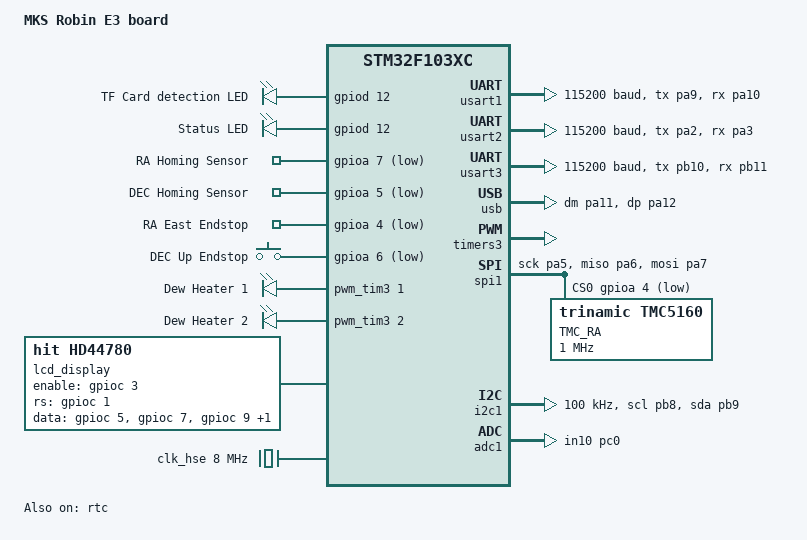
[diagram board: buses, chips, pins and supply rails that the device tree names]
/*
 * Copyright (c) 2021 Nordic Semiconductor ASA
 * SPDX-License-Identifier: Apache-2.0
 */

 /dts-v1/;
 #include <st/f1/stm32f103Xc.dtsi>
 #include <st/f1/stm32f103rctx-pinctrl.dtsi>

/ {
	model = "MKS Robin E3 board";
	compatible = "mks,robin_e3";

	chosen {
		zephyr,console = &usart3;
		zephyr,shell-uart = &usart3;
		zephyr,sram = &sram0;
		zephyr,flash = &flash0;
	};

	leds {
		compatible = "gpio-leds";
		tf_led: led_0 {
			gpios = <&gpiod 12 GPIO_ACTIVE_HIGH>;
			label = "TF Card detection LED";
		};
		status_led: status_led {
			gpios = <&gpiod 12 GPIO_ACTIVE_HIGH>;
			label = "Status LED";
		};
	};

	/* Stepper Motor GPIO Definitions */
	steppers {
		compatible = "gpio-steppers";
		
		/* RA (Right Ascension) Stepper - X Axis */
		ra_step: ra_step {
			gpios = <&gpioe 5 GPIO_ACTIVE_HIGH>;
			label = "RA Stepper Step";
		};
		ra_dir: ra_dir {
			gpios = <&gpioe 6 GPIO_ACTIVE_HIGH>;
			label = "RA Stepper Direction";
		};
		ra_en: ra_en {
			gpios = <&gpioe 4 GPIO_ACTIVE_LOW>;
			label = "RA Stepper Enable";
		};
		ra_diag: ra_diag {
			gpios = <&gpioe 7 GPIO_ACTIVE_HIGH>;
			label = "RA Stepper Diag";
		};

		/* DEC (Declination) Stepper - Y Axis */
		dec_step: dec_step {
			gpios = <&gpioe 2 GPIO_ACTIVE_HIGH>;
			label = "DEC Stepper Step";
		};
		dec_dir: dec_dir {
			gpios = <&gpioe 3 GPIO_ACTIVE_HIGH>;
			label = "DEC Stepper Direction";
		};
		dec_en: dec_en {
			gpios = <&gpioe 1 GPIO_ACTIVE_LOW>;
			label = "DEC Stepper Enable";
		};
		dec_diag: dec_diag {
			gpios = <&gpioe 0 GPIO_ACTIVE_HIGH>;
			label = "DEC Stepper Diag";
		};

		/* ALT (Altitude) Stepper - Z Axis */
		alt_step: alt_step {
			gpios = <&gpiob 5 GPIO_ACTIVE_HIGH>;
			label = "ALT Stepper Step";
		};
		alt_dir: alt_dir {
			gpios = <&gpiob 6 GPIO_ACTIVE_HIGH>;
			label = "ALT Stepper Direction";
		};
		alt_en: alt_en {
			gpios = <&gpiob 4 GPIO_ACTIVE_LOW>;
			label = "ALT Stepper Enable";
		};
		alt_diag: alt_diag {
			gpios = <&gpiob 7 GPIO_ACTIVE_HIGH>;
			label = "ALT Stepper Diag";
		};

		/* AZ (Azimuth) Stepper - E0 */
		az_step: az_step {
			gpios = <&gpiod 6 GPIO_ACTIVE_HIGH>;
			label = "AZ Stepper Step";
		};
		az_dir: az_dir {
			gpios = <&gpiod 3 GPIO_ACTIVE_HIGH>;
			label = "AZ Stepper Direction";
		};
		az_en: az_en {
			gpios = <&gpiob 3 GPIO_ACTIVE_LOW>;
			label = "AZ Stepper Enable";
		};
		az_diag: az_diag {
			gpios = <&gpioa 15 GPIO_ACTIVE_HIGH>;
			label = "AZ Stepper Diag";
		};

		/* Focus Stepper - E1 */
		focus_step: focus_step {
			gpios = <&gpioa 6 GPIO_ACTIVE_HIGH>;
			label = "Focus Stepper Step";
		};
		focus_dir: focus_dir {
			gpios = <&gpioa 1 GPIO_ACTIVE_HIGH>;
			label = "Focus Stepper Direction";
		};
		focus_en: focus_en {
			gpios = <&gpioa 3 GPIO_ACTIVE_LOW>;
			label = "Focus Stepper Enable";
		};
		focus_diag: focus_diag {
			gpios = <&gpioa 2 GPIO_ACTIVE_HIGH>;
			label = "Focus Stepper Diag";
		};
	};

	/* Endstops and Sensors */
	sensors {
		compatible = "gpio-keys";
		
		ra_homing: ra_homing {
			gpios = <&gpioa 7 (GPIO_PULL_UP | GPIO_ACTIVE_LOW)>;
			label = "RA Homing Sensor";
		};
		dec_homing: dec_homing {
			gpios = <&gpioa 5 (GPIO_PULL_UP | GPIO_ACTIVE_LOW)>;
			label = "DEC Homing Sensor";
		};
		ra_endstop_east: ra_endstop_east {
			gpios = <&gpioa 4 (GPIO_PULL_UP | GPIO_ACTIVE_LOW)>;
			label = "RA East Endstop";
		};
		dec_endstop_up: dec_endstop_up {
			gpios = <&gpioa 6 (GPIO_PULL_UP | GPIO_ACTIVE_LOW)>;
			label = "DEC Up Endstop";
		};
	};

	/* Heater/PWM Outputs */
	heaters {
		compatible = "pwm-leds";
		dew_heater1: dew_heater1 {
			pwms = <&pwm_tim3 1 PWM_MSEC(20) PWM_POLARITY_NORMAL>;
			label = "Dew Heater 1";
		};
		dew_heater2: dew_heater2 {
			pwms = <&pwm_tim3 2 PWM_MSEC(20) PWM_POLARITY_NORMAL>;
			label = "Dew Heater 2";
		};
	};

	/* LCD Display */
	lcd_display {
		compatible = "hit,hd44780";
		data-bus-width = <4>;
		enable-gpios = <&gpioc 3 GPIO_ACTIVE_HIGH>;
		rs-gpios = <&gpioc 1 GPIO_ACTIVE_HIGH>;
		data-gpios = <&gpioc 5 GPIO_ACTIVE_HIGH>,
			     <&gpioc 7 GPIO_ACTIVE_HIGH>,
			     <&gpioc 9 GPIO_ACTIVE_HIGH>,
			     <&gpioc 11 GPIO_ACTIVE_HIGH>;
		display-width = <16>;
		display-height = <2>;
	};

	aliases {
		led0 = &tf_led;
		led1 = &status_led;
		ra-step = &ra_step;
		ra-dir = &ra_dir;
		ra-en = &ra_en;
		dec-step = &dec_step;
		dec-dir = &dec_dir;
		dec-en = &dec_en;
		alt-step = &alt_step;
		alt-dir = &alt_dir;
		alt-en = &alt_en;
		az-step = &az_step;
		az-dir = &az_dir;
		az-en = &az_en;
		focus-step = &focus_step;
		focus-dir = &focus_dir;
		focus-en = &focus_en;
		ra-home = &ra_homing;
		dec-home = &dec_homing;
		heater1 = &dew_heater1;
		heater2 = &dew_heater2;
	};
};

&clk_lsi {
	status = "okay";
};

&clk_hse {
	clock-frequency = <DT_FREQ_M(8)>;
	status = "okay";
};

&pll {
	mul = <9>;
	clocks = <&clk_hse>;
	status = "okay";
};

&rcc {
	clocks = <&pll>;
	clock-frequency = <DT_FREQ_M(72)>;
	ahb-prescaler = <1>;
	apb1-prescaler = <2>;
	apb2-prescaler = <1>;
};

&usart1 {
	pinctrl-0 = <&usart1_tx_pa9 &usart1_rx_pa10>;
	pinctrl-names = "default";
	current-speed = <115200>;
	status = "okay";
};

&usart2 {
	pinctrl-0 = <&usart2_tx_pa2 &usart2_rx_pa3>;
	pinctrl-names = "default";
	current-speed = <115200>;
	status = "okay";
};

&usart3 {
	pinctrl-0 = <&usart3_tx_pb10 &usart3_rx_pb11>;
	pinctrl-names = "default";
	current-speed = <115200>;
	status = "okay";
};

zephyr_udc0: &usb {
	pinctrl-0 = <&usb_dm_pa11 &usb_dp_pa12>;
	pinctrl-names = "default";
	status = "okay";
};

&rtc {
	clocks = <&rcc STM32_CLOCK_BUS_APB1 0x10000000>,
		 <&rcc STM32_SRC_LSI RTC_SEL(2)>;
	status = "okay";
};

/* PWM Timer for heater control */
&timers3 {
	status = "okay";
	
	pwm_tim3: pwm {
		status = "okay";
		pinctrl-0 = <&tim3_ch1_pb0 &tim3_ch2_pb1>;
		pinctrl-names = "default";
	};
};

/* SPI for TMC stepper drivers (if using SPI mode) */
&spi1 {
	pinctrl-0 = <&spi1_sck_pa5 &spi1_miso_pa6 &spi1_mosi_pa7>;
	pinctrl-names = "default";
	status = "okay";
	cs-gpios = <&gpioa 4 GPIO_ACTIVE_LOW>;

	tmc_ra: tmc5160@0 {
		compatible = "trinamic,tmc5160";
		reg = <0>;
		spi-max-frequency = <1000000>;
		label = "TMC_RA";
	};
};

/* I2C for external devices */
&i2c1 {
	pinctrl-0 = <&i2c1_scl_pb8 &i2c1_sda_pb9>;
	pinctrl-names = "default";
	status = "okay";
	clock-frequency = <I2C_BITRATE_STANDARD>;
};

/* ADC for analog sensors (LCD keypad, etc.) */
&adc1 {
	pinctrl-0 = <&adc1_in10_pc0>;
	pinctrl-names = "default";
	status = "okay";
};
